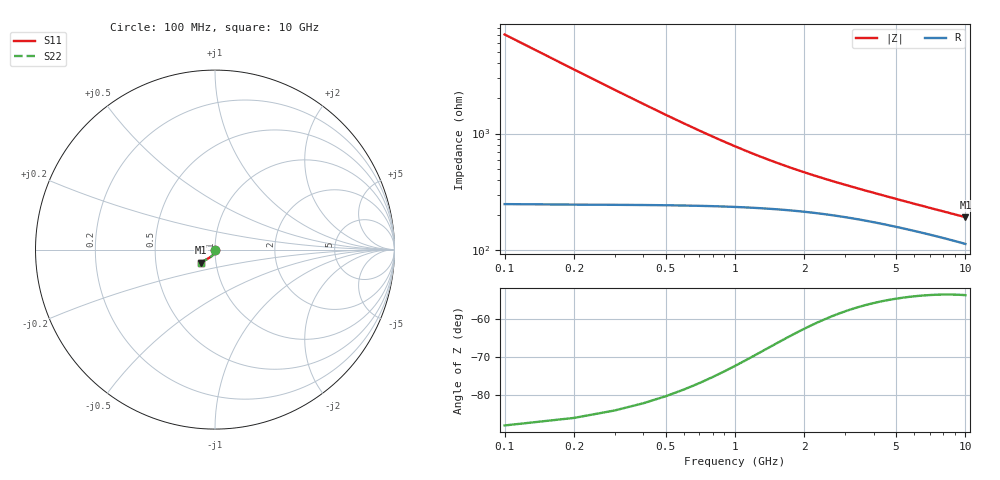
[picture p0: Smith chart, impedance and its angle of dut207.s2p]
! Touchstone file exported from HFSS 2024.1.0
!  File:  C:/UserFiles/LocalFiles/RDL_TSV_Batchsim/temp_TSV1_207_1778757555.aedt
!  Generated:  07:23:45 PM May 14, 2026
!  Design:  TSV1
!  Project:  temp_TSV1_207_1778757555
!  Setup:  Setup1
!  Solution:  Sweep
! Variables:
!  dtsv = 26.31um
!  hbump = 3um
!  htsv = 70.84um
!  lrdl = 252.1521522um
!  p = 40
!  p1 = 58.26um
!  t = 500um
!  trdl = 3um
!  wrdl = 24.89489489um
# GHz S MA R 50.000000
! Terminal data exported
! Port[1] = TSV22_T1
! Port[2] = TSV22_T2
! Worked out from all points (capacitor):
!   100 points, 100 MHz to 10 GHz, reference 50 ohm
!   read as one part in shunt: C = 225 fF near 100 MHz
!   lowest |Z| = 193 ohm at 10 GHz (marker M1)
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0.1  0.003295 -91.0  0.9998 -0.2  0.9998 -0.2  0.003295 -91.0
! Gamma 0 0 0 0
! Port Impedance 50 0 50 0
0.2  0.006566 -93.8  0.9994 -0.4  0.9994 -0.4  0.006566 -93.8
0.3  0.009792 -96.2  0.9987 -0.6  0.9987 -0.6  0.009792 -96.2
0.4  0.01295 -98.4  0.9978 -0.8  0.9978 -0.8  0.01295 -98.4
0.5  0.01603 -100.5  0.9967 -1.0  0.9967 -1.0  0.01603 -100.5
0.6  0.01901 -102.5  0.9955 -1.2  0.9955 -1.2  0.01901 -102.5
0.7  0.02188 -104.5  0.9941 -1.4  0.9941 -1.4  0.02188 -104.5
0.8  0.02464 -106.3  0.9926 -1.6  0.9926 -1.6  0.02464 -106.3
0.9  0.02727 -108.1  0.9911 -1.7  0.9911 -1.7  0.02727 -108.1
1.1  0.03217 -111.3  0.9879 -2.0  0.9879 -2.0  0.03217 -111.3
1.4  0.03864 -115.5  0.9832 -2.3  0.9832 -2.3  0.03864 -115.5
1.6  0.04243 -117.8  0.9802 -2.5  0.9802 -2.5  0.04243 -117.8
1.8  0.04586 -119.8  0.9773 -2.7  0.9773 -2.7  0.04586 -119.8
2.1  0.05045 -122.3  0.9733 -2.9  0.9733 -2.9  0.05045 -122.3
2.5  0.05575 -125.0  0.9685 -3.2  0.9685 -3.2  0.05575 -125.0
2.9  0.06038 -127.0  0.9643 -3.5  0.9643 -3.5  0.06038 -127.0
3.4  0.06551 -128.9  0.9596 -3.7  0.9596 -3.7  0.06551 -128.9
4.2  0.07268 -131.1  0.9532 -4.2  0.9532 -4.2  0.07268 -131.1
5.1  0.0797 -132.8  0.9472 -4.6  0.9472 -4.6  0.0797 -132.8
6.7  0.0903 -134.9  0.9383 -5.3  0.9383 -5.3  0.0903 -134.9
8.4  0.09972 -136.2  0.9307 -6.0  0.9307 -6.0  0.09972 -136.2
10  0.1074 -137.1  0.9247 -6.6  0.9247 -6.6  0.1074 -137.1
